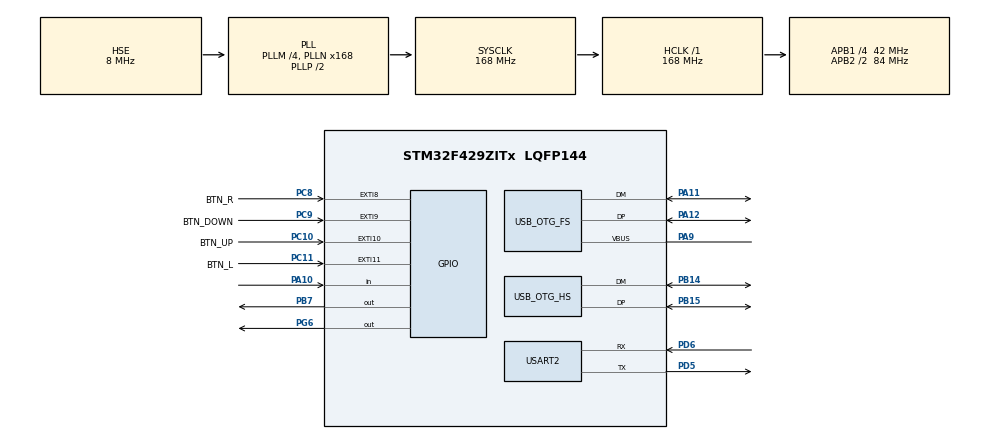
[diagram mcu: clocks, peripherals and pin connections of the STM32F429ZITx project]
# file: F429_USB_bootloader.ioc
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Dma.Request0=USART2_TX
Dma.USART2_TX.0.Direction=DMA_MEMORY_TO_PERIPH
Dma.USART2_TX.0.FIFOMode=DMA_FIFOMODE_DISABLE
Dma.USART2_TX.0.Instance=DMA1_Stream6
Dma.USART2_TX.0.MemDataAlignment=DMA_MDATAALIGN_BYTE
Dma.USART2_TX.0.MemInc=DMA_MINC_ENABLE
Dma.USART2_TX.0.Mode=DMA_NORMAL
Dma.USART2_TX.0.PeriphDataAlignment=DMA_PDATAALIGN_BYTE
Dma.USART2_TX.0.PeriphInc=DMA_PINC_DISABLE
Dma.USART2_TX.0.Priority=DMA_PRIORITY_HIGH
FATFS._FS_EXFAT=1
FATFS._MAX_SS=4096
FATFS._USE_LFN=1
Mcu.Family=STM32F4
Mcu.Name=STM32F429ZITx
Mcu.Package=LQFP144
NVIC.DMA1_Stream6_IRQn=true\:0\:0\:false\:false\:true\:false\:true\:true
NVIC.EXTI15_10_IRQn=true\:0\:0\:false\:false\:true\:true\:true\:true
NVIC.EXTI9_5_IRQn=true\:0\:0\:false\:false\:true\:true\:true\:true
NVIC.OTG_FS_IRQn=true\:0\:0\:false\:false\:true\:true\:true\:true
NVIC.OTG_HS_IRQn=true\:0\:0\:false\:false\:true\:false\:true\:true
NVIC.PriorityGroup=NVIC_PRIORITYGROUP_4
NVIC.RCC_IRQn=true\:0\:0\:false\:false\:true\:true\:false\:true
NVIC.TIM5_IRQn=true\:0\:0\:false\:false\:true\:true\:true\:true
NVIC.USART2_IRQn=true\:0\:0\:false\:false\:true\:true\:true\:true
PA10.GPIO_PuPd=GPIO_PULLUP
PA10.Signal=GPIO_Input
PA11.Mode=Host_Only
PA11.Signal=USB_OTG_FS_DM
PA12.Mode=Host_Only
PA12.Signal=USB_OTG_FS_DP
PA13.Mode=Serial_Wire
PA13.Signal=SYS_JTMS-SWDIO
PA14.Mode=Serial_Wire
PA14.Signal=SYS_JTCK-SWCLK
PA9.Mode=Activate_VBUS
PA9.Signal=USB_OTG_FS_VBUS
PB14.Mode=Device_Only_FS
PB14.Signal=USB_OTG_HS_DM
PB15.Mode=Device_Only_FS
PB15.Signal=USB_OTG_HS_DP
PB7.Signal=GPIO_Output
PC10.GPIO_Label=BTN_UP
PC10.GPIO_ModeDefaultEXTI=GPIO_MODE_IT_FALLING
PC10.Signal=GPXTI10
PC11.GPIO_Label=BTN_L
PC11.GPIO_ModeDefaultEXTI=GPIO_MODE_IT_FALLING
PC11.Signal=GPXTI11
PC8.GPIO_Label=BTN_R
PC8.GPIO_ModeDefaultEXTI=GPIO_MODE_IT_FALLING
PC8.Signal=GPXTI8
PC9.GPIO_Label=BTN_DOWN
PC9.GPIO_ModeDefaultEXTI=GPIO_MODE_IT_FALLING
PC9.Signal=GPXTI9
PD5.Mode=Asynchronous
PD5.Signal=USART2_TX
PD6.Mode=Asynchronous
PD6.Signal=USART2_RX
PG6.Signal=GPIO_Output
PH0/OSC_IN.Mode=HSE-External-Oscillator
PH0/OSC_IN.Signal=RCC_OSC_IN
PH1/OSC_OUT.Mode=HSE-External-Oscillator
PH1/OSC_OUT.Signal=RCC_OSC_OUT
ProjectManager.HeapSize=0x200
ProjectManager.StackSize=0x400
ProjectManager.TargetToolchain=STM32CubeIDE
RCC.48MHZClocksFreq_Value=48000000
RCC.AHBFreq_Value=168000000
RCC.APB1CLKDivider=RCC_HCLK_DIV4
RCC.APB1Freq_Value=42000000
RCC.APB1TimFreq_Value=84000000
RCC.APB2CLKDivider=RCC_HCLK_DIV2
RCC.APB2Freq_Value=84000000
RCC.APB2TimFreq_Value=168000000
RCC.CortexFreq_Value=168000000
RCC.HCLKFreq_Value=168000000
RCC.HSE_VALUE=8000000
RCC.HSI_VALUE=16000000
RCC.LSE_VALUE=32768
RCC.PLLM=4
RCC.PLLN=168
RCC.PLLQ=7
RCC.SYSCLKFreq_VALUE=168000000
RCC.SYSCLKSource=RCC_SYSCLKSOURCE_PLLCLK
RCC.VCOOutputFreq_Value=336000000
TIM5.Period=100-1
TIM5.Prescaler=840-1
USART2.VirtualMode=VM_ASYNC
USB_DEVICE.CLASS_NAME_HS=MSC
USB_DEVICE.VirtualMode-MSC_HS=Msc
USB_DEVICE.VirtualModeHS=Msc_HS
USB_HOST.BSP.number=1
USB_HOST.USBH_HandleTypeDef-MSC_FS=hUsbHostFS
USB_HOST.VirtualModeFS=Msc
USB_HOST0.BSP.STBoard=false
USB_HOST0.BSP.api=Unknown
USB_HOST0.BSP.condition=SW_VBUS_DRIVE_MSC_FS \= false
USB_HOST0.BSP.instance=PG6
USB_HOST0.BSP.ip=GPIO
USB_HOST0.BSP.mode=Output
USB_HOST0.BSP.name=Drive_VBUS_FS
USB_HOST0.BSP.solution=PG6
USB_OTG_FS.VirtualMode=Host_Only
USB_OTG_FS.phy_itface=HCD_PHY_EMBEDDED
USB_OTG_HS.VirtualMode-Device_Only_FS=Device_Only_FS
VP_FATFS_VS_USB.Mode=USB
VP_TIM5_VS_ClockSourceINT.Mode=Internal
VP_USB_DEVICE_VS_USB_DEVICE_MSC_HS.Mode=MSC_HS
VP_USB_HOST_VS_USB_HOST_MSC_FS.Mode=MSC_FS
board=custom

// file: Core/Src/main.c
/* USER CODE BEGIN Header */
/**
  ******************************************************************************
  * @file           : main.c
  * @brief          : Main program body
  ******************************************************************************
  * @attention
  *
  * Copyright (c) 2025 STMicroelectronics.
  * All rights reserved.
  *
  * This software is licensed under terms that can be found in the LICENSE file
  * in the root directory of this software component.
  * If no LICENSE file comes with this software, it is provided AS-IS.
  *
  ******************************************************************************
  */
/* USER CODE END Header */
#include "main.h"
#include "fatfs.h"
#include "usb_device.h"
#include "usb_host.h"

/* USER CODE BEGIN Includes */
#include "display.h"
#include "flash_r_w.h"
#include <stdint.h>
#include <stdio.h>
#include <stdlib.h>
#include <string.h>
#include <stdbool.h>
/* USER CODE END Includes */

/* USER CODE BEGIN PD */
#define VECTOR_TABLE_SIZE                (31 + 1 + 7 + 9)

#define APPLICATION_ADDRESS              0x0800C000
#define READ_BLOCK_SIZE					         128
#define STORAGE_LUN_NBR                  1
#define STORAGE_BLK_NBR                  128 //num Kbytes*2
#define STORAGE_BLK_SIZ                  512
#define FLASH_START_ADDRESS				       0x0800C000
#define FILE_OFFSET						           0xC000

#define MAX_FILES                        32
/* USER CODE END PD */

TIM_HandleTypeDef htim5;

UART_HandleTypeDef huart2;
DMA_HandleTypeDef hdma_usart2_tx;

/* USER CODE BEGIN PV */
extern ApplicationTypeDef Appli_state;
extern USBH_HandleTypeDef hUsbHostFS;

FATFS USBDISKFatFs;
FIL File;

DIR Main_Dir;
FILINFO Main_Dir_Fileinfo;

USBSTAT USB_Status_For_Display;
uint8_t USB_Status_For_Menu_Item;
uint8_t Menu_Proces_Status=0;

button_t Buttons = {0};

char UsbFileName_For_Display[32][32];
char Name_For_File_Open[32][32];

uint32_t File_Size_Mas[32];

uint32_t File_Size_Current;

char SwNewName[32];
char SwCurrName[32];

uint16_t DispFileNum;		// 10 file in list -> it is for DEMO only
uint16_t DispFilePos;		// current position in file list

uint8_t Finde_BIN_Files=0;

uint8_t Firmware_Upgrase_Allowed = 0;
uint8_t Firmware_Upgrase_Allowed_Counter = 0;

uint8_t Read_Version_Allowed = 0;
uint8_t Read_Version_Allowed_Counter;

uint8_t Counter_For_String;

uint8_t File_Number_Counter;

uint8_t Need_Do_Onse;
uint8_t USB_HOST_deinit_flag = 0;

union  {uint8_t Type_u8_t[2]; int16_t Type_u16_t;} Value;

int16_t Value_int16_t;

uint8_t Verification_Error;
uint8_t Exit_Bit;

uint8_t Exit_Flag_FR;

uint8_t buffer[STORAGE_BLK_NBR*STORAGE_BLK_SIZ];
uint8_t USB_data_read_flag = 0;
uint32_t USB_live_counter = 0;
uint32_t buffer_size = 0;

/* USER CODE END PV */

void SystemClock_Config(void);
static void MX_GPIO_Init(void);
static void MX_DMA_Init(void);
static void MX_USART2_UART_Init(void);
static void MX_TIM5_Init(void);
void MX_USB_HOST_Process(void);

/* USER CODE BEGIN PFP */
void FLASH_Program_Byte_Customized(uint32_t Address, uint8_t Data);
void Jump_To_Main_Application(void);
void Check_If_Need_Start_Main_Program(void);
void Work_With_File_in_the_USB_Flash(void);
void Read_Firmware_Version_From_File(void);
uint8_t Try_Finde_BIN_File(void);

#define FLASH_SOURCE_ADDR  ((uint32_t)0x08100000)
#define FLASH_DEST_ADDR    ((uint32_t)0x08020000)

void Data_From_USB_To_Flash(uint32_t data_size)
{
    //memcpy(RAM_buf, (uint8_t*)BIN_SOURCE_ADDR, BIN_MAX_SIZE);

    HAL_FLASH_Unlock();

    // Очистити сектор (сектор 5 починається з 0x08020000, розмір – KB)
    FLASH_EraseInitTypeDef eraseInit;
    uint32_t SectorError;

    eraseInit.TypeErase    = FLASH_TYPEERASE_SECTORS;
    eraseInit.VoltageRange = FLASH_VOLTAGE_RANGE_3;
    eraseInit.Sector       = FLASH_SECTOR_5;
    eraseInit.NbSectors    = 1;

    if (HAL_FLASHEx_Erase(&eraseInit, &SectorError) != HAL_OK)
    {
        HAL_FLASH_Lock();
        return;
    }
    // Запис байт у флеш по 4 байти
    for (uint32_t i = 0; i < data_size; i += 4)
    {
        uint32_t data;
        memcpy(&data, buffer[i], 4);
        if (HAL_FLASH_Program(FLASH_TYPEPROGRAM_WORD, FLASH_DEST_ADDR + i, data) != HAL_OK)
        {
        	HAL_GPIO_WritePin(GPIOB, GPIO_PIN_7, (!HAL_GPIO_ReadPin(GPIOB, GPIO_PIN_7)));
        	break;
        }
    }

    HAL_FLASH_Lock();
}

bool Is_Flash_Data_Matching(uint32_t size)
{
    uint32_t *flash_ptr = (uint32_t*)FLASH_DEST_ADDR;

    if (memcmp(flash_ptr, buffer, size) == 0)
    {
        return true; // Дані збігаються
    } else {
        return false;
    }
}

/* USER CODE END PFP */

int main(void)
{

  /* MCU Configuration--------------------------------------------------------*/

  /* Reset of all peripherals, Initializes the Flash interface and the Systick. */
  HAL_Init();

  /* Configure the system clock */
  SystemClock_Config();

  /* Initialize all configured peripherals */
  MX_GPIO_Init();
  MX_DMA_Init();
  MX_FATFS_Init();
  MX_USART2_UART_Init();
  MX_USB_HOST_Init();
  MX_TIM5_Init();
  /* USER CODE BEGIN 2 */

  //Check_If_Need_Start_Main_Program();
  HAL_Delay(100);

  if ( ( HAL_GPIO_ReadPin(BTN_L_GPIO_Port, BTN_L_Pin) == 1 ) || ( HAL_GPIO_ReadPin(BTN_R_GPIO_Port, BTN_R_Pin) == 1 ) )
  {
  	Jump_To_Main_Application();
  }

  HAL_TIM_Base_Start_IT(&htim5);
  HAL_UART_Transmit_DMA(&huart2, DispUart.txBuff, DISP_TX_BUFF);
  DispInit();
  USB_Status_For_Menu_Item = 0;

  /* USER CODE END 2 */

  /* Infinite loop */
  while (1)
  {
    if (USB_Status_For_Display != USB_STAT_HOLD_FILE) {
        MX_USB_HOST_Process();
    }

    /* USER CODE BEGIN 3 */

    if(Appli_state==APPLICATION_READY)
    	//------------------------------------
    {
      if (USB_Status_For_Display == USB_STAT_HOLD_FILE)
      {
        if (!USB_HOST_deinit_flag)
        {
            USB_HOST_deinit_flag = 1;
            USBH_DeInit(&hUsbHostFS);
            MX_USB_DEVICE_Init();
        }
      }
    	//--------------------------------------------------------------
    	if ( Finde_BIN_Files )
    	{
    		if ( Need_Do_Onse == 0 )
    		{
    			//Check if file is present
    			if ( Try_Finde_BIN_File()) {
              //USB_Status_For_Menu_Item = 3;
              USB_Status_For_Display = USB_STAT_FILESEL;
          } else {
              //USB_Status_For_Menu_Item = 2;
              //USB_Status_For_Display = USB_STAT_SELECT_USB_MODE;
          }
          DispFileNum = File_Number_Counter;

    			Need_Do_Onse = 1;
    		}
    	}
    	//--------------------------------------------------------------
    	//--------------------------------------------------------------
    	if ( Read_Version_Allowed )
    	{
    		Read_Firmware_Version_From_File();
    	}
    	//--------------------------------------------------------------
    	//--------------------------------------------------------------
    	if ( Firmware_Upgrase_Allowed  )
    	{
    		Work_With_File_in_the_USB_Flash();
    	}
    	//--------------------------------------------------------------
    }
    else
    {
    	if ( Finde_BIN_Files )
    	{
    		USB_Status_For_Menu_Item = 0;
    		//USB_Status_For_Display=USB_STAT_NO_USB;

    		USB_Status_For_Menu_Item = 0;
    		Need_Do_Onse=0;
    		DispFilePos=0;
    	}

    }

//	  if(USB_data_read_flag){
//		  uint32_t *flash_ptr = (uint32_t*)FLASH_DEST_ADDR;
//		  if (memcmp(flash_ptr, buffer, sizeof(buffer)) != 0)
//		  {
//			  //Data_From_USB_To_Flash(buffer, sizeof(buffer));
//			  buffer_size = sizeof(buffer);
//			  Data_From_USB_To_Flash(sizeof(buffer));
//			  HAL_GPIO_WritePin(GPIOB, GPIO_PIN_7, 1);
//			  HAL_GPIO_WritePin(GPIOB, GPIO_PIN_14, 0);
//		  }else{
//			  HAL_GPIO_WritePin(GPIOB, GPIO_PIN_14, 1);
//		  }
//	  }

  }
  /* USER CODE END 3 */
}

void SystemClock_Config(void)
{
  RCC_OscInitTypeDef RCC_OscInitStruct = {0};
  RCC_ClkInitTypeDef RCC_ClkInitStruct = {0};

  /** Configure the main internal regulator output voltage
  */
  __HAL_RCC_PWR_CLK_ENABLE();
  __HAL_PWR_VOLTAGESCALING_CONFIG(PWR_REGULATOR_VOLTAGE_SCALE1);

  /** Initializes the RCC Oscillators according to the specified parameters
  * in the RCC_OscInitTypeDef structure.
  */
  RCC_OscInitStruct.OscillatorType = RCC_OSCILLATORTYPE_HSE;
  RCC_OscInitStruct.HSEState = RCC_HSE_ON;
  RCC_OscInitStruct.PLL.PLLState = RCC_PLL_ON;
  RCC_OscInitStruct.PLL.PLLSource = RCC_PLLSOURCE_HSE;
  RCC_OscInitStruct.PLL.PLLM = 4;
  RCC_OscInitStruct.PLL.PLLN = 168;
  RCC_OscInitStruct.PLL.PLLP = RCC_PLLP_DIV2;
  RCC_OscInitStruct.PLL.PLLQ = 7;
  if (HAL_RCC_OscConfig(&RCC_OscInitStruct) != HAL_OK)
  {
    Error_Handler();
  }

  /** Initializes the CPU, AHB and APB buses clocks
  */
  RCC_ClkInitStruct.ClockType = RCC_CLOCKTYPE_HCLK|RCC_CLOCKTYPE_SYSCLK
                              |RCC_CLOCKTYPE_PCLK1|RCC_CLOCKTYPE_PCLK2;
  RCC_ClkInitStruct.SYSCLKSource = RCC_SYSCLKSOURCE_PLLCLK;
  RCC_ClkInitStruct.AHBCLKDivider = RCC_SYSCLK_DIV1;
  RCC_ClkInitStruct.APB1CLKDivider = RCC_HCLK_DIV4;
  RCC_ClkInitStruct.APB2CLKDivider = RCC_HCLK_DIV2;

  if (HAL_RCC_ClockConfig(&RCC_ClkInitStruct, FLASH_LATENCY_5) != HAL_OK)
  {
    Error_Handler();
  }
}

static void MX_TIM5_Init(void)
{

  TIM_ClockConfigTypeDef sClockSourceConfig = {0};
  TIM_MasterConfigTypeDef sMasterConfig = {0};

  htim5.Instance = TIM5;
  htim5.Init.Prescaler = 840-1;
  htim5.Init.CounterMode = TIM_COUNTERMODE_UP;
  htim5.Init.Period = 100-1;
  htim5.Init.ClockDivision = TIM_CLOCKDIVISION_DIV1;
  htim5.Init.AutoReloadPreload = TIM_AUTORELOAD_PRELOAD_DISABLE;
  if (HAL_TIM_Base_Init(&htim5) != HAL_OK)
  {
    Error_Handler();
  }
  sClockSourceConfig.ClockSource = TIM_CLOCKSOURCE_INTERNAL;
  if (HAL_TIM_ConfigClockSource(&htim5, &sClockSourceConfig) != HAL_OK)
  {
    Error_Handler();
  }
  sMasterConfig.MasterOutputTrigger = TIM_TRGO_RESET;
  sMasterConfig.MasterSlaveMode = TIM_MASTERSLAVEMODE_DISABLE;
  if (HAL_TIMEx_MasterConfigSynchronization(&htim5, &sMasterConfig) != HAL_OK)
  {
    Error_Handler();
  }

}

static void MX_USART2_UART_Init(void)
{

  huart2.Instance = USART2;
  huart2.Init.BaudRate = 115200;
  huart2.Init.WordLength = UART_WORDLENGTH_8B;
  huart2.Init.StopBits = UART_STOPBITS_1;
  huart2.Init.Parity = UART_PARITY_NONE;
  huart2.Init.Mode = UART_MODE_TX_RX;
  huart2.Init.HwFlowCtl = UART_HWCONTROL_NONE;
  huart2.Init.OverSampling = UART_OVERSAMPLING_16;
  if (HAL_UART_Init(&huart2) != HAL_OK)
  {
    Error_Handler();
  }

}

static void MX_DMA_Init(void)
{

  /* DMA controller clock enable */
  __HAL_RCC_DMA1_CLK_ENABLE();

  /* DMA interrupt init */
  /* DMA1_Stream6_IRQn interrupt configuration */
  HAL_NVIC_SetPriority(DMA1_Stream6_IRQn, 0, 0);
  HAL_NVIC_EnableIRQ(DMA1_Stream6_IRQn);

}

static void MX_GPIO_Init(void)
{
  GPIO_InitTypeDef GPIO_InitStruct = {0};

  /* GPIO Ports Clock Enable */
  __HAL_RCC_GPIOH_CLK_ENABLE();
  __HAL_RCC_GPIOB_CLK_ENABLE();
  __HAL_RCC_GPIOG_CLK_ENABLE();
  __HAL_RCC_GPIOC_CLK_ENABLE();
  __HAL_RCC_GPIOA_CLK_ENABLE();
  __HAL_RCC_GPIOD_CLK_ENABLE();

  /*Configure GPIO pin Output Level */
  HAL_GPIO_WritePin(GPIOG, GPIO_PIN_6, GPIO_PIN_RESET);

  /*Configure GPIO pin Output Level */
  HAL_GPIO_WritePin(GPIOB, GPIO_PIN_7, GPIO_PIN_RESET);

  /*Configure GPIO pin : PG6 */
  GPIO_InitStruct.Pin = GPIO_PIN_6;
  GPIO_InitStruct.Mode = GPIO_MODE_OUTPUT_PP;
  GPIO_InitStruct.Pull = GPIO_NOPULL;
  GPIO_InitStruct.Speed = GPIO_SPEED_FREQ_LOW;
  HAL_GPIO_Init(GPIOG, &GPIO_InitStruct);

  /*Configure GPIO pins : BTN_R_Pin BTN_DOWN_Pin BTN_UP_Pin BTN_L_Pin */
  GPIO_InitStruct.Pin = BTN_R_Pin|BTN_DOWN_Pin|BTN_UP_Pin|BTN_L_Pin;
  GPIO_InitStruct.Mode = GPIO_MODE_IT_FALLING;
  GPIO_InitStruct.Pull = GPIO_NOPULL;
  HAL_GPIO_Init(GPIOC, &GPIO_InitStruct);

  /*Configure GPIO pin : PB7 */
  GPIO_InitStruct.Pin = GPIO_PIN_7;
  GPIO_InitStruct.Mode = GPIO_MODE_OUTPUT_PP;
  GPIO_InitStruct.Pull = GPIO_NOPULL;
  GPIO_InitStruct.Speed = GPIO_SPEED_FREQ_LOW;
  HAL_GPIO_Init(GPIOB, &GPIO_InitStruct);

  /* EXTI interrupt init*/
  HAL_NVIC_SetPriority(EXTI9_5_IRQn, 0, 0);
  HAL_NVIC_EnableIRQ(EXTI9_5_IRQn);

  HAL_NVIC_SetPriority(EXTI15_10_IRQn, 0, 0);
  HAL_NVIC_EnableIRQ(EXTI15_10_IRQn);

}

/* USER CODE BEGIN 4 */

void FLASH_Program_Byte_Customized(uint32_t Address, uint8_t Data)
{
	CLEAR_BIT(FLASH->CR, FLASH_CR_PSIZE);
	FLASH->CR |= FLASH_PSIZE_BYTE;
	FLASH->CR |= FLASH_CR_PG;

	*(__IO uint8_t*)Address = Data;

	while ((FLASH->SR & FLASH_SR_BSY) != 0 ) {  }
}

void Jump_To_Main_Application(void)
{
	uint32_t app_jump_address;
	app_jump_address = *((volatile uint32_t*)(APPLICATION_ADDRESS + 4)); //reset handler

	HAL_RCC_DeInit();
	HAL_DeInit();
	void(*GoToApp)(void);
	GoToApp = (void(*)(void)) app_jump_address;

	__disable_irq();
	memset((uint32_t *)NVIC->ICER, 0xFF, sizeof(NVIC->ICER));
	memset((uint32_t *)NVIC->ICPR, 0xFF, sizeof(NVIC->ICPR));
	SysTick->CTRL = 0;
	SCB->ICSR |= SCB_ICSR_PENDSTCLR_Msk;
	SCB->VTOR = APPLICATION_ADDRESS;
	//__set_MSP( (uint32_t)&_App);
	__set_MSP((uint32_t)APPLICATION_ADDRESS);
	GoToApp();
}

void Check_If_Need_Start_Main_Program(void)
{
	if ( ( HAL_GPIO_ReadPin(BTN_L_GPIO_Port, BTN_L_Pin) == 1 ) || ( HAL_GPIO_ReadPin(BTN_R_GPIO_Port, BTN_R_Pin) == 1 ) )
	{
		Jump_To_Main_Application();
	}
}

void Work_With_File_in_the_USB_Flash(void)
{
    UINT bytesRead;
    uint8_t buffer[READ_BLOCK_SIZE];
    uint32_t byteOffset = 0;
    uint32_t fileSize = 0;
    Verification_Error = 1;
    Exit_Flag_FR = 0;

    while (Verification_Error)
    {
        if (f_mount(&USBDISKFatFs, "0:", 0) != FR_OK) {
            Exit_Flag_FR = 1;
            break;
        }

        if (f_open(&File, Name_For_File_Open[DispFilePos], FA_READ) != FR_OK) {
            Exit_Flag_FR = 2;
            break;
        }

        if (f_lseek(&File, FILE_OFFSET) != FR_OK) {
            f_close(&File);
            Exit_Flag_FR = 3;
            break;
        }

        USB_Status_For_Display = USB_STAT_PROC_ERASE;
        HAL_Delay(50);
        HAL_FLASH_Unlock();

        // Erase necessary sectors (adjust if more than 1 sector is needed)
        FLASH_EraseInitTypeDef eraseInit = {
            .TypeErase = FLASH_TYPEERASE_SECTORS,
            .VoltageRange = FLASH_VOLTAGE_RANGE_3,
            .Sector = FLASH_SECTOR_3,
            .NbSectors = 5  // Sectors 3–7
        };
        uint32_t SectorError;
        if (HAL_FLASHEx_Erase(&eraseInit, &SectorError) != HAL_OK) {
            HAL_FLASH_Lock();
            f_close(&File);
            Exit_Flag_FR = 4;
            break;
        }

        // --- Programming Flash ---
        USB_Status_For_Display = USB_STAT_PROC_LOAD;
        HAL_Delay(100);
        byteOffset = 0;
		//read READ_BLOCK_SIZE 128 byte of data from file
        while ((f_read(&File, buffer, READ_BLOCK_SIZE, &bytesRead) == FR_OK) && bytesRead > 0)
        {
            for (uint32_t i = 0; i < bytesRead; i++) {
                HAL_FLASH_Program(FLASH_TYPEPROGRAM_BYTE, FLASH_START_ADDRESS + byteOffset + i, buffer[i]);
            }
            byteOffset += bytesRead;
            fileSize += bytesRead;
        }

        HAL_FLASH_Lock();
        f_close(&File);

		    USB_Status_For_Display = USB_STAT_PROC_VERIF; //status for display massege
        HAL_Delay(100);
        // --- Verification phase ---
        Verification_Error = 0;
        byteOffset = 0;

        if (f_open(&File, Name_For_File_Open[DispFilePos], FA_READ) != FR_OK ||
            f_lseek(&File, FILE_OFFSET) != FR_OK) {
            Verification_Error = 1;
            Exit_Flag_FR = 5;
            break;
        }
		//===data verification===
        while ((f_read(&File, buffer, READ_BLOCK_SIZE, &bytesRead) == FR_OK) && bytesRead > 0)
        {
            for (uint32_t i = 0; i < bytesRead; i++) {
				//checking data which is written in flash
                uint8_t flash_byte = *(__IO uint8_t*)(FLASH_START_ADDRESS + byteOffset + i);
                if (flash_byte != buffer[i]) {
                    Verification_Error = 1;
                    break;
                }
            }
            if (Verification_Error) break;
            byteOffset += bytesRead;
        }
		//======================

        f_close(&File);
		//__enable_irq();

        if (fileSize == 0 || byteOffset != fileSize) {
            Verification_Error = 1;
        }

        // --- Status handling ---
        if (Verification_Error == 0) {
            USB_Status_For_Display = USB_STAT_UPDATE_OK;
            while (1) {
            	HAL_GPIO_TogglePin(GPIOB, GPIO_PIN_14);
                // if (Buttons.RIGHT_Bit == 1) {
                //     HAL_NVIC_SystemReset();
                // }
            }
        } else {
            USB_Status_For_Display = USB_STAT_UPDATE_FAIL;
            Exit_Bit = 0;
            while (!Exit_Bit) {
                if (Buttons.DOWN_Bit) {
                    Exit_Bit = 1;
                    Buttons.DOWN_Bit = 0;
                    USB_Status_For_Display = USB_STAT_PROC_ERASE;
                    for (volatile uint32_t i = 0; i < 4500000; i++) {}
                }
                if (Buttons.UP_Bit) {
                    Buttons.UP_Bit = 0;
                    HAL_NVIC_SystemReset();
                }
            }
        }
    }

    // Error message handling
    if (Exit_Flag_FR != 0) {
        USB_Status_For_Display = USB_STAT_TIMEOUT;
        while (1) {
            if (Buttons.RIGHT_Bit == 1) {
                HAL_NVIC_SystemReset();
            }
        }
    }

    while (1) {}
}

void Read_Firmware_Version_From_File(void)
{

	UINT Bytes_Read;
	char Read_Bufer[36];

	uint8_t Result_1=0;
	uint8_t Result_2=0;
	uint8_t Result_3=0;

	if(f_mount(&USBDISKFatFs,"0:",0)==FR_OK)
		//---------------------------------------------------------
	{
		if(f_open(&File, Name_For_File_Open[DispFilePos] ,FA_READ)==FR_OK)
			//---------------------------------------------------
		{
			if ( f_lseek(&File, 0xC400) == FR_OK )
			{
				//------------------------------------------------------------------
				if ( (f_read(&File,Read_Bufer,2,&Bytes_Read)==FR_OK) && (Bytes_Read==2) )
				{
					Value.Type_u8_t[1] = Read_Bufer[1];
					Value.Type_u8_t[0] = Read_Bufer[0];

					strcpy(SwNewName,	DispIntToStr( Value.Type_u16_t ,0) );

					Value_int16_t = Value.Type_u16_t;

					Result_1 = 1;
				}
				//------------------------------------------------------------------
				//------------------------------------------------------------------
				if ( (f_read(&File,Read_Bufer,36,&Bytes_Read)==FR_OK) && (Bytes_Read==36) )
				{
					strcpy(SwNewName,	Read_Bufer );

					Result_2 = 1;
				}
				//------------------------------------------------------------------
			}

			f_close(&File);
			//---------------------------------------------------
		}
		//---------------------------------------------------
	}
	//---------------------------------------------------------

	File_Size_Current	= File_Size_Mas[DispFilePos];

	//if ( File_Size_Current < 524289 )

	if ( (Result_1==0) || (Result_2==0) )
	{
		memset((void*)&SwNewName,0x00,sizeof(SwNewName));
		Value_int16_t = 0;
	}

}

// Рекурсивна функція для пошуку .BIN файлів з повним шляхом
static void Find_BIN_Files_In_Dir(const char *base_path) {
    DIR dir;
    FILINFO fno;
    char path[128];

    if (f_opendir(&dir, base_path) != FR_OK)
        return;

    while (f_readdir(&dir, &fno) == FR_OK && fno.fname[0] != 0) {
        // Пропустити "." і ".."
        if (fno.fname[0] == '.' && (fno.fname[1] == 0 || (fno.fname[1] == '.' && fno.fname[2] == 0)))
            continue;

        snprintf(path, sizeof(path), "%s/%s", base_path, fno.fname);

        if (fno.fattrib & AM_DIR) {
            // Рекурсивно увійти в підкаталог
            Find_BIN_Files_In_Dir(path);
        } else {
            char *ext = strrchr(fno.fname, '.');
            if (ext && (strcasecmp(ext, ".bin") == 0)) {
                if (File_Number_Counter < MAX_FILES) {
                    // Зберегти повний шлях до файлу
                    const char *relative_path = (strncmp(path, "0:/", 3) == 0)? path + 3 : path;
                    strncpy(UsbFileName_For_Display[File_Number_Counter], relative_path, sizeof(UsbFileName_For_Display[0]) - 1);
                    UsbFileName_For_Display[File_Number_Counter][sizeof(UsbFileName_For_Display[0]) - 1] = '\0';

                    strcpy(Name_For_File_Open[File_Number_Counter], fno.altname);
                    File_Size_Mas[File_Number_Counter] = fno.fsize;
                    File_Number_Counter++;
                }
            }
        }
    }

    f_closedir(&dir);
}

uint8_t Try_Finde_BIN_File(void) {
    File_Number_Counter = 0;

    // Очистити старі шляхи
    for (uint8_t i = 0; i < MAX_FILES; i++) {
        memset(UsbFileName_For_Display[i], 0x00, sizeof(UsbFileName_For_Display[i]));
    }

    if (f_mount(&USBDISKFatFs, "0:", 0) == FR_OK) {
        Find_BIN_Files_In_Dir("0:");
    }

    return (File_Number_Counter > 0) ? 1 : 0;
}

/* USER CODE END 4 */

void Error_Handler(void)
{
  __disable_irq();
  while (1)
  {
  }
}
